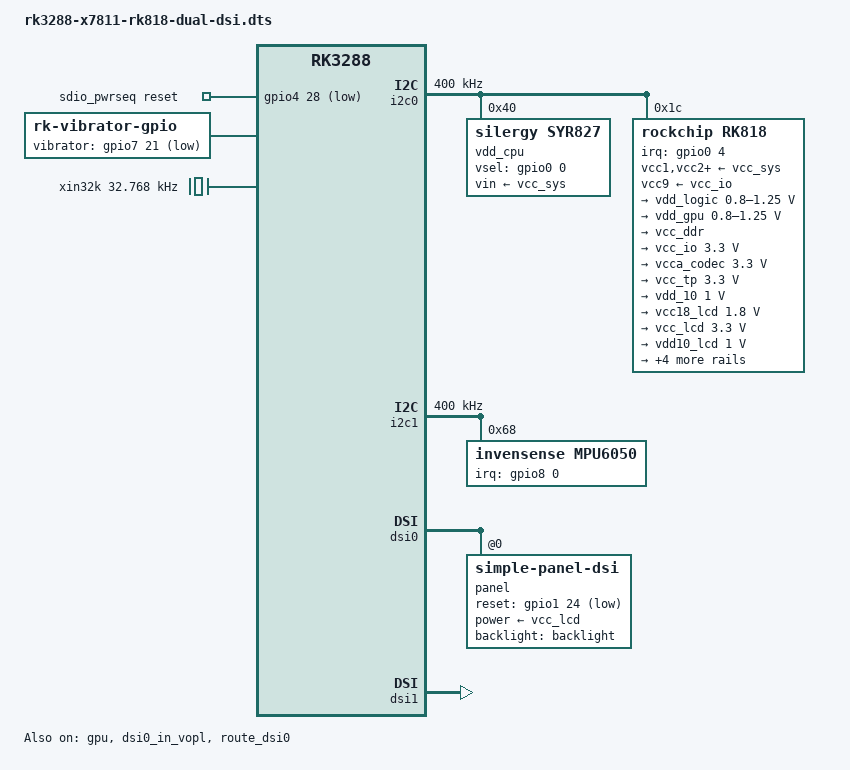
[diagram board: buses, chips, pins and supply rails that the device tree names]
/*
 * Copyright (c) 2017 Fuzhou Rockchip Electronics Co., Ltd
 *
 * This file is dual-licensed: you can use it either under the terms
 * of the GPL or the X11 license, at your option. Note that this dual
 * licensing only applies to this file, and not this project as a
 * whole.
 *
 *  a) This file is free software; you can redistribute it and/or
 *     modify it under the terms of the GNU General Public License as
 *     published by the Free Software Foundation; either version 2 of the
 *     License, or (at your option) any later version.
 *
 *     This file is distributed in the hope that it will be useful,
 *     but WITHOUT ANY WARRANTY; without even the implied warranty of
 *     MERCHANTABILITY or FITNESS FOR A PARTICULAR PURPOSE.  See the
 *     GNU General Public License for more details.
 *
 * Or, alternatively,
 *
 *  b) Permission is hereby granted, free of charge, to any person
 *     obtaining a copy of this software and associated documentation
 *     files (the "Software"), to deal in the Software without
 *     restriction, including without limitation the rights to use,
 *     copy, modify, merge, publish, distribute, sublicense, and/or
 *     sell copies of the Software, and to permit persons to whom the
 *     Software is furnished to do so, subject to the following
 *     conditions:
 *
 *     The above copyright notice and this permission notice shall be
 *     included in all copies or substantial portions of the Software.
 *
 *     THE SOFTWARE IS PROVIDED "AS IS", WITHOUT WARRANTY OF ANY KIND,
 *     EXPRESS OR IMPLIED, INCLUDING BUT NOT LIMITED TO THE WARRANTIES
 *     OF MERCHANTABILITY, FITNESS FOR A PARTICULAR PURPOSE AND
 *     NONINFRINGEMENT. IN NO EVENT SHALL THE AUTHORS OR COPYRIGHT
 *     HOLDERS BE LIABLE FOR ANY CLAIM, DAMAGES OR OTHER LIABILITY,
 *     WHETHER IN AN ACTION OF CONTRACT, TORT OR OTHERWISE, ARISING
 *     FROM, OUT OF OR IN CONNECTION WITH THE SOFTWARE OR THE USE OR
 *     OTHER DEALINGS IN THE SOFTWARE.
 */

/dts-v1/;
#include "rk3288-evb.dtsi"
#include "rk3288-android.dtsi"

/ {
	compatible = "rockchip,rk3288-evb-rk818", "rockchip,rk3288";

	sdio_pwrseq: sdio-pwrseq {
		compatible = "mmc-pwrseq-simple";
		clocks = <&rk818 1>;
		clock-names = "ext_clock";

		/*
		 * On the module itself this is one of these (depending
		 * on the actual card populated):
		 * - SDIO_RESET_L_WL_REG_ON
		 * - PDN (power down when low)
		 */
		reset-gpios = <&gpio4 28 GPIO_ACTIVE_LOW>;
	};

	wireless-bluetooth {
		clocks = <&rk818 1>;
		clock-names = "ext_clock";
	};

	/delete-node/ sdmmc-regulator;

	vibrator {
		compatible = "rk-vibrator-gpio";
		vibrator-gpio = <&gpio7 21 GPIO_ACTIVE_LOW>;
		status = "okay";
	};

	xin32k: xin32k {
		compatible = "fixed-clock";
		clock-frequency = <32768>;
		clock-output-names = "xin32k";
		#clock-cells = <0>;
	};

};

&cpu0 {
	cpu0-supply = <&vdd_cpu>;
};

&gpu {
	status = "okay";
	mali-supply = <&vdd_gpu>;
};

&i2c0 {
	clock-frequency = <400000>;

	vdd_cpu: syr827@40 {
		compatible = "silergy,syr827";
		reg = <0x40>;
		vin-supply = <&vcc_sys>;
		regulator-compatible = "fan53555-reg";
		pinctrl-0 = <&vsel1_gpio>;
		vsel-gpios = <&gpio0 0 GPIO_ACTIVE_HIGH>;
		regulator-name = "vdd_cpu";
		regulator-min-microvolt = <712500>;
		regulator-max-microvolt = <1500000>;
		regulator-ramp-delay = <1000>;
		fcs,suspend-voltage-selector = <1>;
		regulator-always-on;
		regulator-boot-on;
		regulator-initial-state = <3>;
		regulator-state-mem {
			regulator-off-in-suspend;
		};
	};

	rk818: pmic@1c {
		compatible = "rockchip,rk818";
		reg = <0x1c>;
		status = "okay";

		clock-output-names = "rk818-clkout1", "wifibt_32kin";
		interrupt-parent = <&gpio0>;
		interrupts = <4 IRQ_TYPE_LEVEL_LOW>;
		pinctrl-names = "default";
		pinctrl-0 = <&pmic_int>;
		rockchip,system-power-controller;
		wakeup-source;
		#clock-cells = <1>;

		vcc1-supply = <&vcc_sys>;
		vcc2-supply = <&vcc_sys>;
		vcc3-supply = <&vcc_sys>;
		vcc4-supply = <&vcc_sys>;
		vcc6-supply = <&vcc_sys>;
		vcc7-supply = <&vcc_sys>;
		vcc8-supply = <&vcc_sys>;
		vcc9-supply = <&vcc_io>;

		regulators {
			vdd_logic: DCDC_REG1 {
				regulator-name = "vdd_logic";
				regulator-always-on;
				regulator-boot-on;
				regulator-min-microvolt = <800000>;
				regulator-max-microvolt = <1250000>;
				regulator-ramp-delay = <6001>;
				regulator-state-mem {
					regulator-on-in-suspend;
					regulator-suspend-microvolt = <1000000>;
				};
			};

			vdd_gpu: DCDC_REG2 {
				regulator-name = "vdd_gpu";
				regulator-always-on;
				regulator-boot-on;
				regulator-min-microvolt = <800000>;
				regulator-max-microvolt = <1250000>;
				regulator-ramp-delay = <6001>;
				regulator-state-mem {
					regulator-on-in-suspend;
					regulator-suspend-microvolt = <1000000>;
				};
			};

			vcc_ddr: DCDC_REG3 {
				regulator-always-on;
				regulator-boot-on;
				regulator-name = "vcc_ddr";
				regulator-state-mem {
					regulator-on-in-suspend;
				};
			};

			vcc_io: DCDC_REG4 {
				regulator-always-on;
				regulator-boot-on;
				regulator-min-microvolt = <3300000>;
				regulator-max-microvolt = <3300000>;
				regulator-name = "vcc_io";
				regulator-state-mem {
					regulator-off-in-suspend;
				};
			};

			vcca_codec: LDO_REG1 {
				regulator-always-on;
				regulator-boot-on;
				regulator-min-microvolt = <3300000>;
				regulator-max-microvolt = <3300000>;
				regulator-name = "vcca_codec";
				regulator-state-mem {
					regulator-off-in-suspend;
				};
			};

			vcc_tp: LDO_REG2 {
				regulator-always-on;
				regulator-boot-on;
				regulator-min-microvolt = <3300000>;
				regulator-max-microvolt = <3300000>;
				regulator-name = "vcc_tp";
				regulator-state-mem {
					regulator-off-in-suspend;
				};
			};

			vdd_10: LDO_REG3 {
				regulator-always-on;
				regulator-boot-on;
				regulator-min-microvolt = <1000000>;
				regulator-max-microvolt = <1000000>;
				regulator-name = "vdd_10";
				regulator-state-mem {
					regulator-on-in-suspend;
					regulator-suspend-microvolt = <1000000>;
				};
			};

			vcc18_lcd: LDO_REG4 {
				regulator-always-on;
				regulator-boot-on;
				regulator-min-microvolt = <1800000>;
				regulator-max-microvolt = <1800000>;
				regulator-name = "vcc18_lcd";
				regulator-state-mem {
					regulator-off-in-suspend;
				};
			};

			vcc_lcd:LDO_REG5 {
				regulator-always-on;
				regulator-boot-on;
				regulator-min-microvolt = <3300000>;
				regulator-max-microvolt = <3300000>;
				regulator-name = "vcc_lcd";
				regulator-state-mem {
					regulator-on-in-suspend;
					regulator-suspend-microvolt = <3300000>;
				};
			};

			vdd10_lcd: LDO_REG6 {
				regulator-always-on;
				regulator-boot-on;
				regulator-min-microvolt = <1000000>;
				regulator-max-microvolt = <1000000>;
				regulator-name = "vdd10_lcd";
				regulator-state-mem {
					regulator-off-in-suspend;
				};
			};

			vcc_18: LDO_REG7 {
				regulator-always-on;
				regulator-boot-on;
				regulator-min-microvolt = <1800000>;
				regulator-max-microvolt = <1800000>;
				regulator-name = "vcc_18";
				regulator-state-mem {
					regulator-on-in-suspend;
					regulator-suspend-microvolt = <1800000>;
				};
			};

			vccio_wl: LDO_REG8 {
				regulator-always-on;
				regulator-boot-on;
				regulator-min-microvolt = <1800000>;
				regulator-max-microvolt = <3300000>;
				regulator-name = "vccio_wl";
				regulator-state-mem {
					regulator-on-in-suspend;
					regulator-suspend-microvolt = <3300000>;
				};
			};

			vccio_sd: LDO_REG9 {
				regulator-always-on;
				regulator-boot-on;
				regulator-min-microvolt = <1800000>;
				regulator-max-microvolt = <3300000>;
				regulator-name = "vccio_sd";
				regulator-state-mem {
					regulator-on-in-suspend;
					regulator-suspend-microvolt = <3300000>;
				};
			};

			vcc_sd: SWITCH_REG {
				regulator-always-on;
				regulator-boot-on;
				regulator-name = "vcc_sd";
				regulator-state-mem {
					regulator-on-in-suspend;
				};
			};
		};
	};
};

&i2c1 {
	status = "okay";
	clock-frequency = <400000>;

	mpu6050@68 {
		compatible = "invensense,mpu6050";
		status = "okay";
		pinctrl-names = "default";
		pinctrl-0 = <&mpu6050_irq_gpio>;
		reg = <0x68>;
		irq-gpio = <&gpio8 0 IRQ_TYPE_EDGE_RISING>;
		mpu-int_config = <0x10>;
		mpu-level_shifter = <0>;
		mpu-orientation = <0 1 0 1 0 0 0 0 1>;
		orientation-x= <0>;
		orientation-y= <1>;
		orientation-z= <0>;
		support-hw-poweroff = <1>;
		mpu-debug = <1>;
	};
};

&dsi0 {
	rockchip,dual-channel = <&dsi1>;
	rockchip,lane-rate = <900>;
	status = "okay";

	panel@0 {
		compatible = "simple-panel-dsi";
		reg = <0>;
		backlight = <&backlight>;
		power-supply = <&vcc_lcd>;
		reset-gpios = <&gpio1 24 GPIO_ACTIVE_LOW>;
		reset-delay-ms = <120>;
		init-delay-ms = <120>;
		enable-delay-ms = <120>;
		prepare-delay-ms = <120>;

		dsi,flags = <(MIPI_DSI_MODE_VIDEO | MIPI_DSI_MODE_VIDEO_BURST |
			      MIPI_DSI_MODE_LPM | MIPI_DSI_MODE_EOT_PACKET)>;
		dsi,format = <MIPI_DSI_FMT_RGB888>;
		dsi,lanes = <8>;

		panel-init-sequence = [
			05 64 01 11
			05 14 01 29
		];

		panel-exit-sequence = [
			05 64 01 28
			05 96 01 10
		];

		display-timings {
			native-mode = <&timing0>;

			timing0: timing0 {
				clock-frequency = <230000000>;
				hactive = <1536>;
				vactive = <2048>;
				hback-porch = <180>;
				hfront-porch = <180>;
				vback-porch = <10>;
				vfront-porch = <14>;
				hsync-len = <48>;
				vsync-len = <2>;
				hsync-active = <0>;
				vsync-active = <0>;
				de-active = <0>;
				pixelclk-active = <0>;
			};
		};
	};
};

&dsi1 {
	status = "okay";
};

&dsi0_in_vopl {
	status = "okay";
};

&dsi0_in_vopb {
	status = "disabled";
};

&route_dsi0 {
	connect = <&vopl_out_dsi0>;
	status = "okay";
};

&tsadc {
	rockchip,hw-tshut-polarity = <1>; /* tshut polarity 0:LOW 1:HIGH */
};

&pinctrl {
	lcd {
		lcd_en: lcd-en  {
			rockchip,pins = <1 24 RK_FUNC_GPIO &pcfg_pull_none>;
		};
	};

	mpu6050 {
		mpu6050_irq_gpio: mpu6050-irq-gpio {
			rockchip,pins = <8 0 RK_FUNC_GPIO &pcfg_pull_none>;
		};
	};

	pmic {
		pmic_int: pmic-int {
			rockchip,pins = <RK_GPIO0 4 RK_FUNC_GPIO &pcfg_pull_up>;
		};
		vsel1_gpio: vsel1-gpio {
			rockchip,pins = <RK_GPIO0 0 RK_FUNC_GPIO &pcfg_pull_down>;
		};
	};
};
